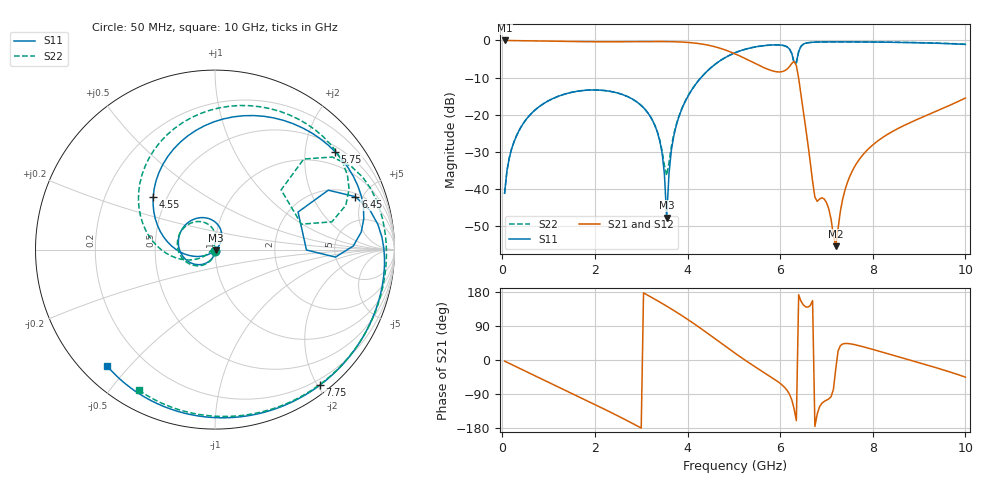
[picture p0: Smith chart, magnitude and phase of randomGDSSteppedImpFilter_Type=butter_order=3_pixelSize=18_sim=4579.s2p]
! freq	dB(S11)	phase(S11)	dB(S12)	phase(S12)
!  dB(S21)	phase(S21)	dB(S22)	phase(S22)
!S-par simulation data
#  GHz  S  DB  R 50
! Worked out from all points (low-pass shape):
!   200 points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, 50 MHz to 10 GHz, reference 50 ohm
!   highest |S21| = 0.00 dB at 50 MHz (marker M1); lowest = -55.3 dB at 7.2 GHz (marker M2)
!   |S21| within 3 dB of the highest: start of sweep to 4.908 GHz
!   lowest |S11| = -47.6 dB at 3.55 GHz (marker M3), VSWR 1.01, Z = 50.3 - j0.287 ohm
!   |S11| at or under -10 dB: start of sweep to 4.292 GHz
!   |S22| runs from -41.1 to -0.4 dB; largest |S21 - S12| = 0
!   S11 on the Smith chart (normalised r, x): 50 MHz: 1.00, -0.02; 4.55 GHz: 0.42, +0.31; 5.75 GHz: 0.62, +2.68; 6.45 GHz: 2.24, +4.39; 7.75 GHz: 0.12, -2.03; 10 GHz: 0.07, -0.43
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0.05  -41.13 -92.3  -0.00 -3.0  -0.00 -3.0  -41.11 -92.0
0.2  -29.23 -101.4  -0.03 -11.9  -0.03 -11.9  -29.23 -100.5
0.5  -21.51 -121.1  -0.08 -29.5  -0.08 -29.5  -21.50 -118.7
1.75  -13.46 162.1  -0.33 -102.6  -0.33 -102.6  -13.46 171.3
2.85  -16.08 91.3  -0.33 -169.8  -0.33 -169.8  -16.08 109.2
3.4  -27.00 49.8  -0.30 153.0  -0.30 153.0  -26.75 87.2
3.5  -35.87 35.0  -0.30 145.8  -0.30 145.8  -33.54 107.2
3.55  -47.64 -43.5  -0.31 142.1  -0.31 142.1  -36.35 150.6
3.65  -29.63 -139.7  -0.33 134.7  -0.33 134.7  -28.61 -153.3
3.8  -21.07 -154.9  -0.39 123.3  -0.39 123.3  -20.84 -150.0
4.55  -6.87 139.4  -1.57 60.1  -1.57 60.1  -6.85 155.9
5.05  -3.19 94.8  -3.74 15.9  -3.74 15.9  -3.19 112.8
5.75  -1.28 39.2  -7.83 -40.6  -7.83 -40.6  -1.28 57.3
6.25  -3.45 -3.6  -6.21 -104.7  -6.21 -104.7  -3.49 13.4
6.35  -5.89 24.3  -6.76 -160.0  -6.76 -160.0  -6.08 42.1
6.45  -1.55 20.6  -14.57 155.1  -14.57 155.1  -1.59 38.3
6.7  -0.48 -3.1  -37.85 156.7  -37.85 156.7  -0.49 13.9
7.2  -0.38 -29.5  -55.35 -24.5  -55.35 -24.5  -0.37 -13.6
7.4  -0.38 -38.3  -40.24 43.6  -40.24 43.6  -0.37 -22.7
7.75  -0.40 -52.4  -31.33 36.3  -31.33 36.3  -0.39 -37.5
8.35  -0.48 -74.4  -25.03 15.7  -25.03 15.7  -0.46 -60.3
10  -1.07 -132.9  -15.49 -45.3  -15.49 -45.3  -1.01 -118.6
